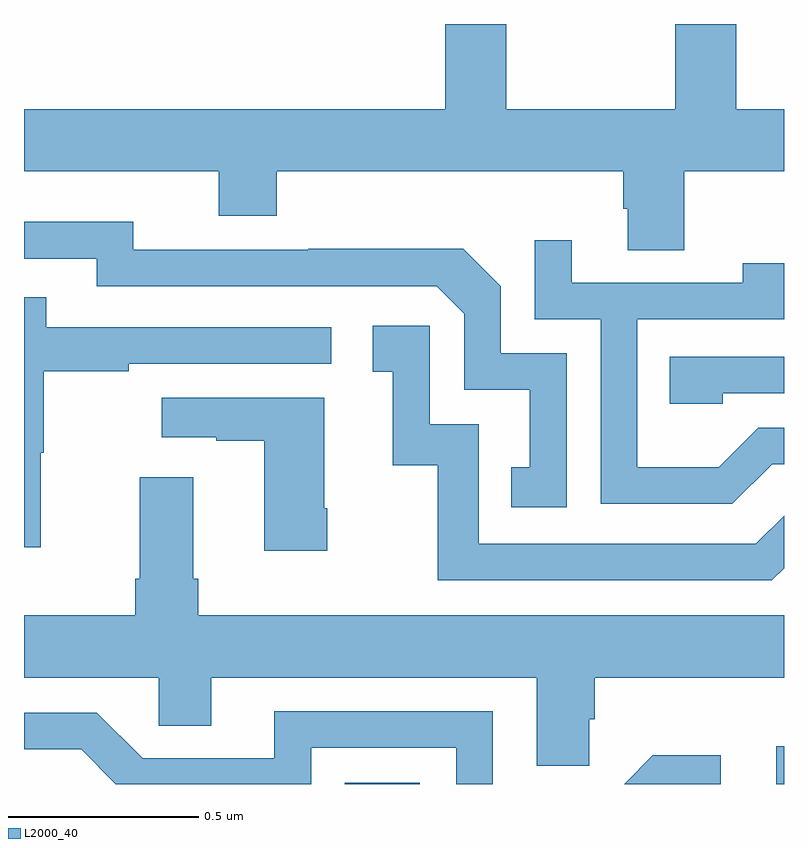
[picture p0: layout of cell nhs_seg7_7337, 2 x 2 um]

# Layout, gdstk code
import gdstk
lib = gdstk.Library(unit=1e-6, precision=1e-09)
def R(c, l, rs):  # rectangles x0, y0, x1, y1
    for r in rs: c.add(gdstk.rectangle(r[:2], r[2:], *l))
def P(c, l, *ps):  # polygons
    for p in ps: c.add(gdstk.Polygon(p, *l))
L2000_40 = (2000, 40)

nhs_seg7_7337 = lib.new_cell('nhs_seg7_7337')
R(nhs_seg7_7337, L2000_40, [(210.844,1003,211.042,1003.003), (211.979,1003,212,1003.099)])
P(nhs_seg7_7337, L2000_40, [(211.737,1004.612),(212,1004.612),(212,1004.776),(211.874,1004.776),(211.874,1005),(211.714,1005),(211.714,1004.776),(211.269,1004.776),(211.269,1005),(211.109,1005),(211.109,1004.776),(210,1004.776),(210,1004.612),(210.512,1004.612),(210.512,1004.495),(210.665,1004.495),(210.665,1004.612),(211.577,1004.612),(211.577,1004.514),(211.589,1004.514),(211.589,1004.404),(211.737,1004.404)],
  [(211.428,1004.133),(211.254,1004.133),(211.254,1004.31),(211.156,1004.408),(210.748,1004.408),(210.748,1004.406),(210.288,1004.406),(210.288,1004.479),(210,1004.479),(210,1004.382),(210.192,1004.382),(210.192,1004.31),(211.086,1004.31),(211.158,1004.238),(211.158,1004.037),(211.331,1004.037),(211.331,1003.833),(211.282,1003.833),(211.282,1003.728),(211.428,1003.728)],
  [(211.969,1003.842),(212,1003.842),(212,1003.938),(211.932,1003.938),(211.828,1003.834),(211.614,1003.834),(211.614,1004.223),(212,1004.223),(212,1004.371),(211.892,1004.371),(211.892,1004.319),(211.441,1004.319),(211.441,1004.431),(211.344,1004.431),(211.344,1004.223),(211.518,1004.223),(211.518,1003.737),(211.864,1003.737)],
  [(210.044,1003.872),(210.052,1003.872),(210.052,1004.086),(210.275,1004.086),(210.275,1004.106),(210.808,1004.106),(210.808,1004.202),(210.059,1004.202),(210.059,1004.281),(210,1004.281),(210,1003.623),(210.044,1003.623)],
  [(212,1003.568),(212,1003.706),(211.926,1003.632),(211.197,1003.632),(211.197,1003.947),(211.068,1003.947),(211.068,1004.206),(210.918,1004.206),(210.918,1004.085),(210.971,1004.085),(210.971,1003.839),(211.089,1003.839),(211.089,1003.536),(211.968,1003.536)],
  [(211.839,1004.028),(212,1004.028),(212,1004.124),(211.699,1004.124),(211.699,1004.001),(211.839,1004.001)],
  [(210.798,1003.726),(210.79,1003.726),(210.79,1004.017),(210.363,1004.017),(210.363,1003.913),(210.506,1003.913),(210.506,1003.903),(210.632,1003.903),(210.632,1003.614),(210.798,1003.614)],
  [(211.488,1003.171),(211.502,1003.171),(211.502,1003.28),(212,1003.28),(212,1003.444),(210.458,1003.444),(210.458,1003.54),(210.445,1003.54),(210.445,1003.807),(210.305,1003.807),(210.305,1003.54),(210.293,1003.54),(210.293,1003.444),(210,1003.444),(210,1003.28),(210.354,1003.28),(210.354,1003.153),(210.493,1003.153),(210.493,1003.28),(211.349,1003.28),(211.349,1003.048),(211.488,1003.048)],
  [(210.756,1003.095),(211.137,1003.095),(211.137,1003),(211.233,1003),(211.233,1003.191),(210.659,1003.191),(210.659,1003.068),(210.312,1003.068),(210.192,1003.188),(210,1003.188),(210,1003.092),(210.15,1003.092),(210.242,1003),(210.756,1003)],
  [(211.834,1003.076),(211.655,1003.076),(211.579,1003),(211.834,1003)])

lib.write_gds('nhs_seg7_7337.gds')
